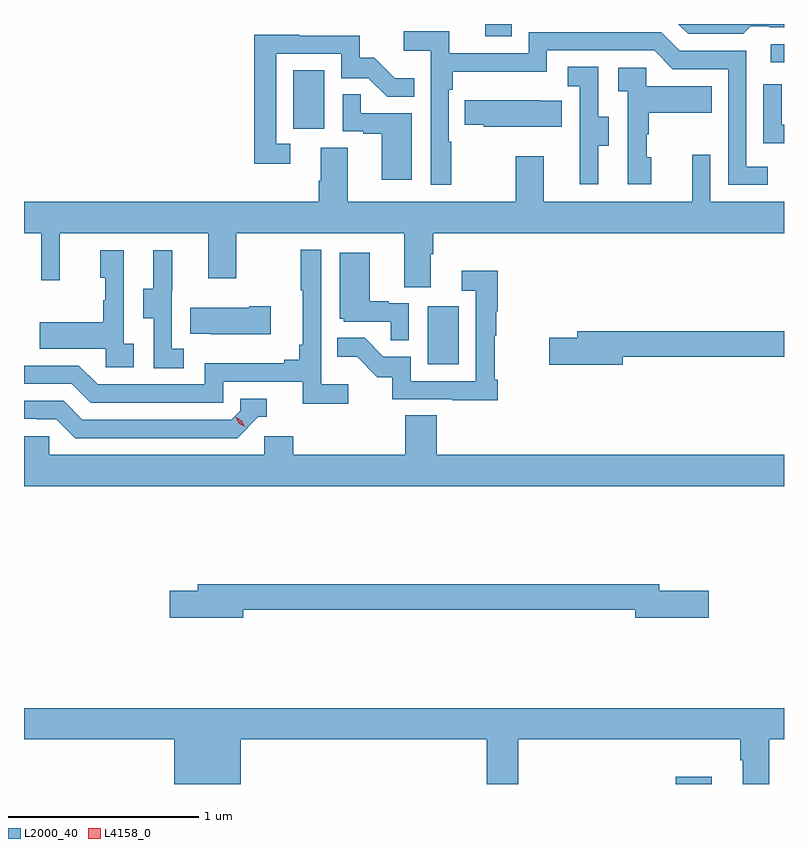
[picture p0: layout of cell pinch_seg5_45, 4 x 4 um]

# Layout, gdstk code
import gdstk
lib = gdstk.Library(unit=1e-6, precision=1e-09)
def R(c, l, rs):  # rectangles x0, y0, x1, y1
    for r in rs: c.add(gdstk.rectangle(r[:2], r[2:], *l))
def P(c, l, *ps):  # polygons
    for p in ps: c.add(gdstk.Polygon(p, *l))
L2000_40 = (2000, 40)
L4158_0 = (4158, 0)

pinch_seg5_45 = lib.new_cell('pinch_seg5_45')
R(pinch_seg5_45, L2000_40, [(1107.283,896.484,1107.472,896.521), (1105.976,898.692,1106.14,898.999), (1105.268,899.934,1105.432,900.241), (1107.783,900.282,1107.852,900.378)])
P(pinch_seg5_45, L2000_40, [(1106.418,900.483),(1106.419,900.484),(1106.279,900.484),(1106.279,900.42),(1106.418,900.42)],
  [(1107.676,900.471),(1107.775,900.471),(1107.775,900.468),(1107.852,900.468),(1107.852,900.484),(1107.296,900.484),(1107.348,900.432),(1107.637,900.432)],
  [(1106.101,899.864),(1106.088,899.864),(1106.088,900.137),(1106.108,900.137),(1106.108,900.233),(1106.604,900.233),(1106.604,900.345),(1107.168,900.345),(1107.267,900.246),(1107.558,900.246),(1107.558,899.637),(1107.767,899.637),(1107.767,899.733),(1107.654,899.733),(1107.654,900.342),(1107.304,900.342),(1107.205,900.441),(1106.508,900.441),(1106.508,900.33),(1106.09,900.33),(1106.09,900.446),(1105.851,900.446),(1105.851,900.344),(1105.992,900.344),(1105.992,899.637),(1106.101,899.637)],
  [(1105.252,899.853),(1105.179,899.853),(1105.179,900.327),(1105.521,900.327),(1105.521,900.198),(1105.665,900.198),(1105.763,900.1),(1105.907,900.1),(1105.907,900.199),(1105.803,900.199),(1105.696,900.306),(1105.62,900.306),(1105.62,900.423),(1105.301,900.423),(1105.301,900.428),(1105.063,900.428),(1105.063,899.748),(1105.252,899.748)],
  [(1106.875,899.842),(1106.929,899.842),(1106.929,899.997),(1106.874,899.997),(1106.874,900.26),(1106.715,900.26),(1106.715,900.157),(1106.778,900.157),(1106.778,899.853),(1106.777,899.853),(1106.777,899.64),(1106.875,899.64)],
  [(1107.154,899.784),(1107.129,899.784),(1107.129,899.903),(1107.139,899.903),(1107.139,900.017),(1107.473,900.017),(1107.473,900.157),(1107.126,900.157),(1107.126,900.255),(1106.979,900.255),(1106.979,900.131),(1107.03,900.131),(1107.03,899.64),(1107.154,899.64)],
  [(1107.852,899.954),(1107.84,899.954),(1107.84,900.166),(1107.744,900.166),(1107.744,899.856),(1107.852,899.856)],
  [(1105.894,900.015),(1105.625,900.015),(1105.625,900.113),(1105.53,900.113),(1105.53,899.919),(1105.637,899.919),(1105.637,899.907),(1105.736,899.907),(1105.736,899.664),(1105.894,899.664)],
  [(1106.681,900.079),(1106.573,900.079),(1106.573,900.082),(1106.173,900.082),(1106.173,899.953),(1106.271,899.953),(1106.271,899.942),(1106.681,899.942)],
  [(1107.368,899.797),(1107.368,899.548),(1106.587,899.548),(1106.587,899.788),(1106.44,899.788),(1106.44,899.548),(1105.555,899.548),(1105.555,899.834),(1105.415,899.834),(1105.415,899.66),(1105.403,899.66),(1105.403,899.548),(1103.852,899.548),(1103.852,899.384),(1103.943,899.384),(1103.943,899.136),(1104.041,899.136),(1104.041,899.384),(1104.821,899.384),(1104.821,899.145),(1104.969,899.145),(1104.969,899.384),(1105.853,899.384),(1105.853,899.098),(1105.993,899.098),(1105.993,899.272),(1106.006,899.272),(1106.006,899.384),(1107.852,899.384),(1107.852,899.548),(1107.465,899.548),(1107.465,899.797)],
  [(1105.558,898.588),(1105.416,898.588),(1105.416,899.296),(1105.308,899.296),(1105.308,899.083),(1105.319,899.083),(1105.319,898.795),(1105.3,898.795),(1105.3,898.718),(1105.223,898.718),(1105.223,898.699),(1104.804,898.699),(1104.804,898.587),(1104.24,898.587),(1104.141,898.686),(1103.852,898.686),(1103.852,898.59),(1104.104,898.59),(1104.203,898.491),(1104.9,898.491),(1104.9,898.602),(1105.319,898.602),(1105.319,898.486),(1105.558,898.486)],
  [(1104.43,898.802),(1104.378,898.802),(1104.378,899.293),(1104.254,899.293),(1104.254,899.148),(1104.28,899.148),(1104.28,899.03),(1104.27,899.03),(1104.27,898.915),(1103.935,898.915),(1103.935,898.775),(1104.282,898.775),(1104.282,898.677),(1104.43,898.677)],
  [(1104.694,898.775),(1104.63,898.775),(1104.63,899.079),(1104.632,899.079),(1104.632,899.293),(1104.533,899.293),(1104.533,899.091),(1104.479,899.091),(1104.479,898.936),(1104.534,898.936),(1104.534,898.672),(1104.694,898.672)],
  [(1105.878,899.013),(1105.772,899.013),(1105.772,899.026),(1105.672,899.026),(1105.672,899.281),(1105.514,899.281),(1105.514,898.932),(1105.536,898.932),(1105.536,898.917),(1105.783,898.917),(1105.783,898.819),(1105.878,898.819)],
  [(1106.345,898.612),(1106.33,898.612),(1106.33,898.842),(1106.338,898.842),(1106.338,898.972),(1106.345,898.972),(1106.345,899.185),(1106.157,899.185),(1106.157,899.079),(1106.229,899.079),(1106.229,898.605),(1105.887,898.605),(1105.887,898.734),(1105.743,898.734),(1105.645,898.832),(1105.501,898.832),(1105.501,898.733),(1105.605,898.733),(1105.712,898.626),(1105.789,898.626),(1105.789,898.509),(1106.107,898.509),(1106.107,898.504),(1106.345,898.504)],
  [(1105.15,898.998),(1105.037,898.998),(1105.037,898.99),(1104.727,898.99),(1104.727,898.853),(1104.835,898.853),(1104.835,898.85),(1105.15,898.85)],
  [(1107.004,898.732),(1107.852,898.732),(1107.852,898.868),(1106.765,898.868),(1106.765,898.832),(1106.616,898.832),(1106.616,898.69),(1107.004,898.69)],
  [(1105.086,898.416),(1105.129,898.416),(1105.129,898.512),(1104.99,898.512),(1104.99,898.449),(1104.942,898.401),(1104.159,898.401),(1104.06,898.5),(1103.852,898.5),(1103.852,898.407),(1103.916,898.407),(1103.916,898.404),(1104.023,898.404),(1104.122,898.305),(1104.975,898.305)],
  [(1107.852,898.216),(1106.024,898.216),(1106.024,898.424),(1105.859,898.424),(1105.859,898.216),(1105.268,898.216),(1105.268,898.314),(1105.116,898.314),(1105.116,898.216),(1103.985,898.216),(1103.985,898.314),(1103.852,898.314),(1103.852,898.052),(1107.852,898.052)],
  [(1105.006,897.4),(1107.068,897.4),(1107.068,897.358),(1107.457,897.358),(1107.457,897.5),(1107.196,897.5),(1107.196,897.536),(1104.767,897.536),(1104.767,897.5),(1104.618,897.5),(1104.618,897.358),(1105.006,897.358)],
  [(1104.994,896.72),(1106.288,896.72),(1106.288,896.484),(1106.452,896.484),(1106.452,896.72),(1107.623,896.72),(1107.623,896.608),(1107.635,896.608),(1107.635,896.484),(1107.775,896.484),(1107.775,896.72),(1107.852,896.72),(1107.852,896.884),(1103.852,896.884),(1103.852,896.72),(1104.644,896.72),(1104.644,896.484),(1104.994,896.484)])
P(pinch_seg5_45, L4158_0, [(1105.014,898.364),(1104.983,898.383),(1104.967,898.416),(1104.967,898.416),(1104.967,898.416),(1104.998,898.396),(1105.014,898.364),(1105.014,898.364)])

lib.write_gds('pinch_seg5_45.gds')
